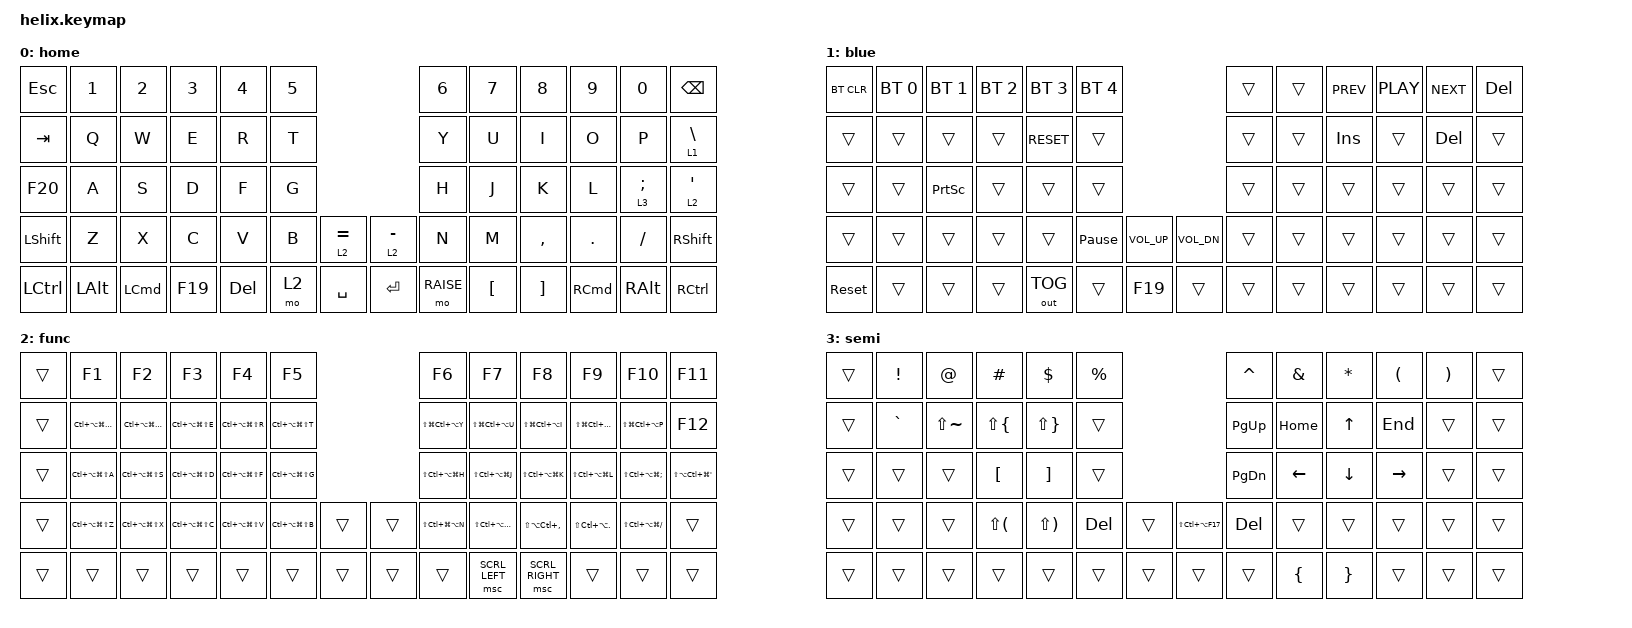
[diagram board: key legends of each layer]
/*
 * Copyright (c) 2020 The ZMK Contributors
 *
 * SPDX-License-Identifier: MIT
 */

#include <behaviors.dtsi>
#include <dt-bindings/zmk/bt.h>
#include <dt-bindings/zmk/keys.h>
#include <dt-bindings/zmk/outputs.h>
#include <dt-bindings/zmk/pointing.h>

#define DEFAULT 0
#define LOWER  1
#define RAISE  2
#define ADJUST 3

/* NOTE: At the time of the creation of this keymap, there are no specified codes for 'eisuu' and 'kana' input in ZMK.
However, 'LANG1' and 'LANG2' are fully-functioning candidates for 'kana' and 'eisuu' input respectively.
As such, those are in use within the default layer at this time.*/

&lt {
    require-prior-idle-ms = <150>;
    hold-trigger-key-positions = <31 32 20 33 57 56>;
    hold-trigger-on-release;
};

/ {
    combos {
        compatible = "zmk,combos";

        backtick {
            bindings = <&kp GRAVE>;
            key-positions = <13 14>;
        };
    };

    behaviors {
        lt_left: lt_left {
            compatible = "zmk,behavior-hold-tap";
            label = "LT_LEFT";
            bindings = <&mo>, <&kp>;

            #binding-cells = <2>;
            tapping-term-ms = <200>;
            quick-tap-ms = <175>;
            require-prior-idle-ms = <150>;
            flavor = "balanced";
            hold-trigger-key-positions = <7 8 9 10 11 19 20 21 22 23 31 32 33 34 35 45 46 47 48 49 59 60 61 62 63 6 7 18 19 30 31 43 44 45 57 58 59>;
            hold-trigger-on-release;
        };

        lt_right: lt_right {
            compatible = "zmk,behavior-hold-tap";
            label = "LT_RIGHT";
            bindings = <&mo>, <&kp>;

            #binding-cells = <2>;
            tapping-term-ms = <200>;
            quick-tap-ms = <175>;
            require-prior-idle-ms = <150>;
            flavor = "balanced";
            hold-trigger-on-release;
            hold-trigger-key-positions = <0 1 2 3 4 5 12 13 14 15 16 17 24 25 26 27 28 29 36 37 38 39 40 41 42 50 51 52 53 54 55 56>;
        };

        lt_semi: lt_semi {
            compatible = "zmk,behavior-hold-tap";
            label = "LT_SEMI";
            bindings = <&mo>, <&kp>;

            #binding-cells = <2>;
            tapping-term-ms = <150>;
            flavor = "tap-preferred";
        };
    };

    keymap {
        compatible = "zmk,keymap";

        default_layer {
            // ---------------------------------------------------------------------------------------------------------------------------------
            // | GRAVE  |   1    |   2    |   3    |   4    |   5    |                                      |   6    |   7    |   8    |   9    |   0    |  DEL   |
            // |  TAB   |   Q    |   W    |   E    |   R    |   T    |                                      |   Y    |   U    |   I    |   O    |   P    |  BSPC  |
            // |  CTRL  |   A    |   S    |   D    |   F    |   G    |                                      |   H    |   J    |   K    |   L    |   ;    |   '    |
            // |  SHIFT |   Z    |   X    |   C    |   V    |   B    |  LBKT  |                    |  RBKT  |   N    |   M    |   ,    |   .    |   /    |  RET   |
            // | ADJUST |  ESC   |  ALT   |  LGUI  | EISUU  | LOWER  | SPACE  |                    |  SPACE | RAISE  |  KANA  |  LEFT  |  DOWN  |  UP    |  RIGHT |

            bindings = <
&kp ESCAPE  &kp N1        &kp N2            &kp N3   &kp N4      &kp N5                                         &kp N6     &kp N7            &kp N8             &kp N9             &kp N0                &kp BACKSPACE
&kp TAB     &kp Q         &kp W             &kp E    &kp R       &kp T                                          &kp Y      &kp U             &kp I              &kp O              &kp P                 &lt 1 BACKSLASH
&kp F20     &kp A         &kp S             &kp D    &kp F       &kp G                                          &kp H      &kp J             &kp K              &kp L              &lt_semi 3 SEMICOLON  &lt_right 2 APOSTROPHE
&kp LSHFT   &kp Z         &kp X             &kp C    &kp V       &kp B   &lt_left 2 EQUAL    &lt_right 2 MINUS  &kp N      &kp M             &kp COMMA          &kp PERIOD         &kp SLASH             &kp RIGHT_SHIFT
&kp LCTRL   &kp LEFT_ALT  &kp LEFT_COMMAND  &kp F19  &kp DELETE  &mo 2   &kp SPACE           &kp ENTER          &mo RAISE  &kp LEFT_BRACKET  &kp RIGHT_BRACKET  &kp RIGHT_COMMAND  &kp RIGHT_ALT         &kp RCTRL
            >;

            label = "home";
        };

        bluetooth {
            // ---------------------------------------------------------------------------------------------------------------------------------
            // |      |      |      |      |      |      |                                  |      |      |      |      |      |      |
            // |  ~   |  !   |  @   |  #   |  $   |  %   |                                  |  ^   |  &   |  *   |  (   |  )   |      |
            // |      |      |      |      |      |      |                                  |      |  _   |  +   |  {   |  }   | PIPE |
            // |      |      |      |      |      |      |  (   |                    |  )   |      |      |      | HOME | END  |      |
            // |      |      |      |      |      |      |      |                    |      |      |      |      |      |      |      |

            bindings = <
&bt BT_CLR  &bt BT_SEL 0  &bt BT_SEL 1     &bt BT_SEL 2  &bt BT_SEL 3  &bt BT_SEL 4                                   &trans  &trans  &kp C_PREV  &kp C_PLAY  &kp C_NEXT  &kp DELETE
&trans      &trans        &trans           &trans        &kp C_RESET   &trans                                         &trans  &trans  &kp INS     &trans      &kp DELETE  &trans
&trans      &trans        &kp PRINTSCREEN  &trans        &trans        &trans                                         &trans  &trans  &trans      &trans      &trans      &trans
&trans      &trans        &trans           &trans        &trans        &kp PAUSE_BREAK  &kp C_VOL_UP    &kp C_VOL_DN  &trans  &trans  &trans      &trans      &trans      &trans
&sys_reset  &trans        &trans           &trans        &out OUT_TOG  &trans           &kp F19         &trans        &trans  &trans  &trans      &trans      &trans      &trans
            >;

            label = "blue";
        };

        function {
            // ---------------------------------------------------------------------------------------------------------------------------------
            // |       |       |       |       |       |       |                                    |       |       |       |       |       |       |
            // |   `   |   1   |   2   |   3   |   4   |   5   |                                    |   6   |   7   |   8   |   9   |   0   |  DEL  |
            // |       |  F1   |  F2   |  F3   |  F4   |  F5   |                                    |  F6   |   -   |   =   |   [   |   ]   |   \   |
            // |       |  F7   |  F8   |  F9   |  F10  |  F11  |       |                    |       |  F12  |       | PSCRN | PG_DN | PG_UP |       |
            // |       |       |       |       |       |       |       |                    |       |       |       | NEXT  | VOL-  | VOL+  | PLAY  |

            bindings = <
&trans  &kp F1                 &kp F2                 &kp F3                 &kp F4                 &kp F5                                   &kp F6                 &kp F7                 &kp F8                 &kp F9                 &kp F10                        &kp F11
&trans  &kp LC(LA(LG(LS(Q))))  &kp LC(LA(LG(LS(W))))  &kp LC(LA(LG(LS(E))))  &kp LC(LA(LG(LS(R))))  &kp LC(LA(LG(LS(T))))                    &kp LS(LG(LC(LA(Y))))  &kp LS(LG(LC(LA(U))))  &kp LS(LG(LC(LA(I))))  &kp LS(LG(LC(LA(O))))  &kp LS(LG(LC(LA(P))))          &kp F12
&trans  &kp LC(LA(LG(LS(A))))  &kp LC(LA(LG(LS(S))))  &kp LC(LA(LG(LS(D))))  &kp LC(LA(LG(LS(F))))  &kp LC(LA(LG(LS(G))))                    &kp LS(LC(LA(LG(H))))  &kp LS(LC(LA(LG(J))))  &kp LS(LC(LA(LG(K))))  &kp LS(LC(LA(LG(L))))  &kp LS(LC(LA(LG(SEMICOLON))))  &kp LS(LA(LC(LG(APOSTROPHE))))
&trans  &kp LC(LA(LG(LS(Z))))  &kp LC(LA(LG(LS(X))))  &kp LC(LA(LG(LS(C))))  &kp LC(LA(LG(LS(V))))  &kp LC(LA(LG(LS(B))))  &trans    &trans  &kp LS(LC(LG(LA(N))))  &kp LS(LC(LA(LG(M))))  &kp LS(LA(LC(COMMA)))  &kp LS(LC(LA(DOT)))    &kp LS(LC(LA(LG(FSLH))))       &trans
&trans  &trans                 &trans                 &trans                 &trans                 &trans                 &trans    &trans  &trans                 &msc SCRL_LEFT         &msc SCRL_RIGHT        &trans                 &trans                         &trans
            >;

            label = "func";
        };

        semicolon {
            // ---------------------------------------------------------------------------------------------------------------------------------
            // |    `     |    !     |    @     |    #     |    $     |    %     |                                          |    ^     |    &     |    *     |    (     |    )     |  EP TOG  |
            // |  BT CLR  | BT SEL0  | BT SEL1  | BT SEL2  | BGT SEL3 | BT SEL4  |                                          | RGB EFF+ | RGB HUE+ | RGB SAT+ | RGB SPD+ | RGB BRI+ | RGB TOG  |
            // |  BT NXT  | OUT TOG  | OUT USB  | OUT BLE  |          |          |                                          | RGB EFF- | RGB HUE- | RGB SAT- | RGB SPD- | RGB BRI- |          |
            // |  BT PRV  |          |          |          |          |          |    {     |                    |    }     |          |          |          |          |          |          |
            // |          |          |          |          |          |          |          |                    |          |          |          |          |          |          |          |

            bindings = <
&trans  &kp EXCL   &kp AT         &kp HASH      &kp DLLR      &kp PRCNT                                 &kp CARET  &kp AMPS        &kp ASTRK        &kp LPAR   &kp RPAR  &trans
&trans  &kp GRAVE  &kp LS(TILDE)  &kp LS(LBRC)  &kp LS(RBRC)  &trans                                    &kp PG_UP  &kp HOME        &kp UP           &kp END    &trans    &trans
&trans  &trans     &trans         &kp LBKT      &kp RBKT      &trans                                    &kp PG_DN  &kp LEFT        &kp DOWN         &kp RIGHT  &trans    &trans
&trans  &trans     &trans         &kp LS(LPAR)  &kp LS(RPAR)  &kp DEL    &trans    &kp LS(LC(LA(F17)))  &kp DEL    &trans          &trans           &trans     &trans    &trans
&trans  &trans     &trans         &trans        &trans        &trans     &trans    &trans               &trans     &kp LEFT_BRACE  &kp RIGHT_BRACE  &trans     &trans    &trans
            >;

            label = "semi";
        };
    };
};
